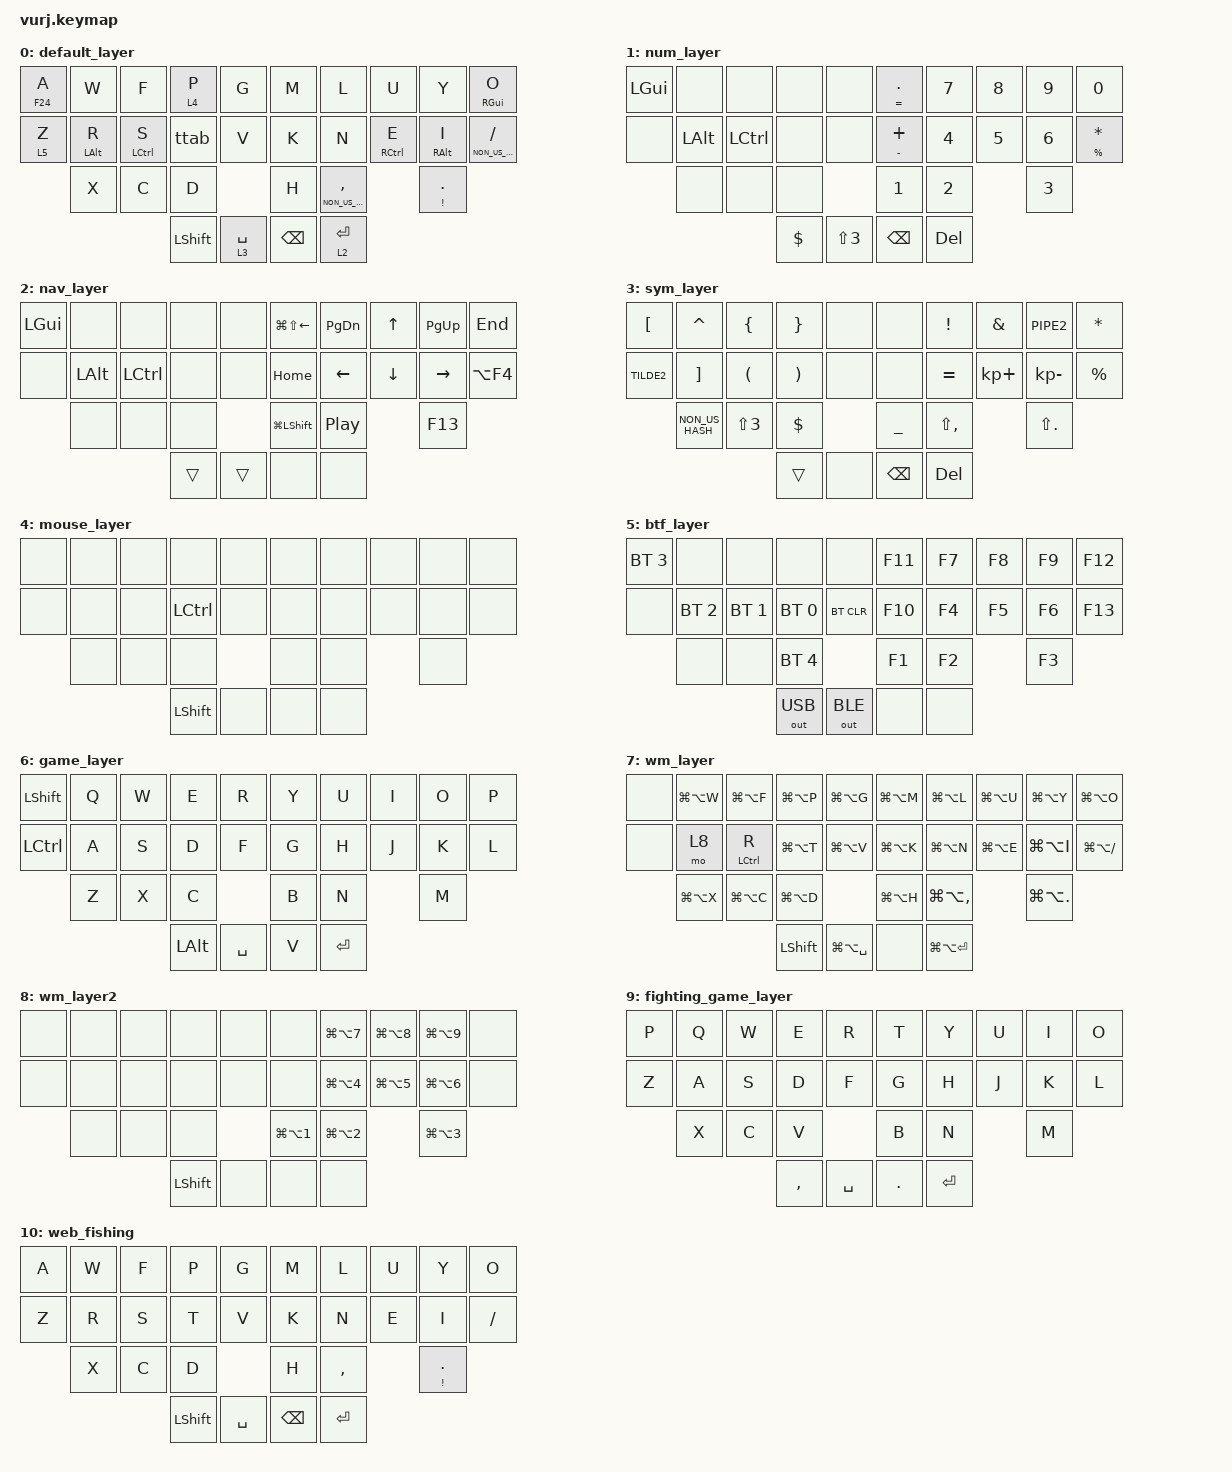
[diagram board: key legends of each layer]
/*
 * Copyright (c) 2020 The ZMK Contributors
 *
 * SPDX-License-Identifier: MIT
 */

#include <behaviors.dtsi>
#include <dt-bindings/zmk/keys.h>
#include <dt-bindings/zmk/bt.h>
#include <dt-bindings/zmk/outputs.h>

/* Behavior Settings */
&mt {
    tapping-term-ms = <160>;
    flavor = "tap-preferred";
};
&lt {
    tapping-term-ms = <160>;
    flavor = "tap-preferred";
    retro-tap;
};

/ {
    behaviors {

        // Vurj Behaviors
        ht: hold_tap{
            compatible = "zmk,behavior-hold-tap";
            label = "HOLD_TAP";
            #binding-cells = <2>;
            tapping-term-ms = <160>;
            flavor = "tap-preferred";
            bindings = <&kp>, <&kp>;
        };
        ttab: t_tab{
            compatible = "zmk,behavior-mod-morph";
            label = "T_TAB";
            #binding-cells = <0>;
            bindings = <&lt 1 T>, <&kp TAB>;
            mods = <(MOD_LALT)>;                
        };
        win1: win_1{
            compatible = "zmk,behavior-mod-morph";
            label = "WIN_1";
            #binding-cells = <0>;
            bindings = <&kp H>, <&kp F1>;
            mods = <(MOD_LGUI)>;                
        };
        win2: win_2{
            compatible = "zmk,behavior-mod-morph";
            label = "WIN_2";
            #binding-cells = <0>;
            bindings = <&ht NON_US_HASH COMMA>, <&kp F2>;
            mods = <(MOD_LGUI)>;                
        };
        win3: win_3{
            compatible = "zmk,behavior-mod-morph";
            label = "WIN_3";
            #binding-cells = <0>;
            bindings = <&ht EXCL DOT>, <&kp F3>;
            mods = <(MOD_LGUI)>;                
        };
        win4: win_4{
            compatible = "zmk,behavior-mod-morph";
            label = "WIN_4";
            #binding-cells = <0>;
            bindings = <&kp N>, <&kp F4>;
            mods = <(MOD_LGUI)>;                
        };
        win5: win_5{
            compatible = "zmk,behavior-mod-morph";
            label = "WIN_5";
            #binding-cells = <0>;
            bindings = <&mt RCTRL E>, <&kp F5>;
            mods = <(MOD_LGUI)>;                
        };
        win6: win_6{
            compatible = "zmk,behavior-mod-morph";
            label = "WIN_6";
            #binding-cells = <0>;
            bindings = <&mt RALT I>, <&kp F6>;
            mods = <(MOD_LGUI)>;                
        };
        win7: win_7{
            compatible = "zmk,behavior-mod-morph";
            label = "WIN_7";
            #binding-cells = <0>;
            bindings = <&kp L>, <&kp F7>;
            mods = <(MOD_LGUI)>;                
        };
        win8: win_8{
            compatible = "zmk,behavior-mod-morph";
            label = "WIN_8";
            #binding-cells = <0>;
            bindings = <&kp U>, <&kp F8>;
            mods = <(MOD_LGUI)>;                
        };
        win9: win_9{
            compatible = "zmk,behavior-mod-morph";
            label = "WIN_9";
            #binding-cells = <0>;
            bindings = <&kp Y>, <&kp F9>;
            mods = <(MOD_LGUI)>;                
        };
    };

    combos {
        compatible = "zmk,combos";

        #define COMBO(NAME, BINDINGS, KEYPOS, LAYERS) \
          combo_##NAME { \
            bindings = <BINDINGS>; \
            key-positions = <KEYPOS>; \
            layers = <LAYERS>; \
            timeout-ms = <15>; \
          };

        /*                KEY POSITIONS

          ╭────────────────────╮ ╭────────────────────╮
          │      1   2   3   4 │ │  5   6   7   8     │
          │ 0   11  12  13  14 │ │ 15  16  17  18   9 │
          │ 10  20  21  22     │ │     23  24  25  19 │
          ╰───────────╮ 26  27 │ │ 28  29 ╭───────────╯
                      ╰────────╯ ╰────────╯            */


        /* Extra letters */
        COMBO(q, &kp Q, 1 2, 0)
        COMBO(b, &kp B, 2 3, 0)
        COMBO(j, &kp J, 6 7, 0)
        COMBO(semi, &kp SEMI, 7 8, 0)

        /* Functions */
        COMBO(tab, &kp TAB, 12 13, 0)
        COMBO(esc, &kp ESC, 11 12, 0)
        
         /* Puncuation */
        COMBO(sqt_grave, &ht GRAVE SQT, 16 17, 0)
        COMBO(dqt_at, &ht DQT AT, 17 18, 0)
        //COMBO(colons, &ht LS(SEMI) SEMI, 6 16, 0)
        //COMBO(comma_hash, &ht NON_US_HASH COMMA, 21 22, 0)
        //COMBO(period_exca, &ht EXCL DOT, 23 24, 0)

        /* Brackets */
        //COMBO(paren, &ht RPAR LPAR, 2 3, 0)
        //COMBO(brace, &ht RBRC LBRC, 1 2, 0)
        //COMBO(brack, &ht RBKT LBKT, 4 14, 0)

        /* Math */
        //COMBO(equals_under, &ht UNDER EQUAL, 6 7, 0)
        //COMBO(plus_min, &ht MINUS KP_PLUS, 7 8, 0)
        //COMBO(times_div, &ht PRCNT STAR, 5 15, 0)

        /* Symbols */
        //COMBO(and_pipe, &ht PIPE2 AMPS, 2 13, 0)
        //COMBO(money, &ht LS(N3) DLLR, 16 7, 0)
        //COMBO(slashes, &ht NON_US_BSLH FSLH, 16 23, 0)
        //COMBO(tilde_caret, &ht CARET TILDE2, 13 22, 0)

        /* Gaming */
        COMBO(gaming, &to 6, 28 29, 0)
        COMBO(game_back, &to 0, 23 24, 6)
        COMBO(game_esc, &kp ESC, 20 21, 6)
        COMBO(game_tab, &kp TAB, 14 4, 6)
        /* Fighting Game */
        COMBO(fight, &to 9, 21 22 23 24, 0)
        COMBO(fight_back, &to 0, 1 8, 9)
        /* web fishing game */
        COMBO(fish, &to 10, 4 5, 0)
        COMBO(fish_back, &to 0, 1 8, 10)
        COMBO(fish_game_esc, &kp ESC, 20 21, 10)
        COMBO(fish_game_tab, &kp TAB, 14 4, 10)
        COMBO(fish_q, &kp Q, 1 2, 10)
        COMBO(fish_b, &kp B, 2 3, 10)
        COMBO(fish_j, &kp J, 6 7, 10)
        COMBO(fish_semi, &kp SEMI, 7 8, 10)
        COMBO(fish_qt_grave, &ht GRAVE SQT, 16 17, 10)
        COMBO(fish_dqt_at, &ht DQT AT, 17 18, 10)
    };

//make N hold be mouse layer

    keymap {
        compatible = "zmk,keymap";

        default_layer {
            bindings = <
        // ╭─────────────┬─────────────┬─────────────┬─────────────┬─────────────╮   ╭─────────────┬─────────────┬─────────────┬─────────────┬─────────────╮
             &mt F24 A     &kp W         &kp F         &lt 4 P       &kp G             &kp M         &kp L         &kp U         &kp Y         &mt RGUI O
             &lt 5 Z       &mt LALT R    &mt LCTRL S   &ttab         &kp V             &kp K         &kp N         &mt RCTRL E   &mt RALT I    &ht NON_US_BSLH FSLH
                           &kp X         &kp C         &kp D                           &kp H         &ht NON_US_HASH COMMA       &ht EXCL DOT
        // ╰─────────────┴─────────────┴─────────────╮                                                           ╭─────────────┴─────────────┴─────────────╯
                                                       &kp LSHFT     &lt 3 SPACE       &kp BSPC      &lt 2 ENTER
        //                                           ╰─────────────┴─────────────╯   ╰─────────────┴─────────────╯
               
            >;
        };

        num_layer {
            bindings = <
        // ╭─────────────┬─────────────┬─────────────┬─────────────┬─────────────╮   ╭─────────────┬─────────────┬─────────────┬─────────────┬─────────────╮
             &kp LGUI      &none         &none         &none         &none             &ht EQUAL DOT  &kp N7       &kp N8        &kp N9        &kp N0
             &none         &kp LALT      &kp LCTRL     &none         &none             &ht MINUS PLUS &kp N4       &kp N5        &kp N6        &ht PRCNT STAR
                           &none         &none         &none                                          &kp N1       &kp N2        &kp N3
        // ╰─────────────┴─────────────┴─────────────╮                                                           ╭─────────────┴─────────────┴─────────────╯
                                                       &kp DLLR      &kp LS(N3)        &kp BSPC       &kp DEL
        //                                           ╰─────────────┴─────────────╯   ╰─────────────┴─────────────╯
            >;
        };

        nav_layer {
            bindings = <
        // ╭─────────────┬─────────────┬─────────────┬─────────────┬─────────────╮   ╭─────────────┬─────────────┬─────────────┬─────────────┬─────────────╮
             &kp LGUI      &none         &none         &none         &none             &kp LG(LS(LEFT)) &kp PG_DN     &kp UP     &kp PG_UP     &kp END
             &none         &kp LALT      &kp LCTRL     &none         &none             &kp HOME      &kp LEFT         &kp DOWN   &kp RIGHT     &kp LA(F4)
                           &none         &none         &none                                         &kp LG(LSHIFT)   &kp C_PP   &kp F13
        // ╰─────────────┴─────────────┴─────────────╮                                                           ╭─────────────┴─────────────┴─────────────╯
                                                       &trans        &trans            &none         &none
        //                                           ╰─────────────┴─────────────╯   ╰─────────────┴─────────────╯
            >;
        };

        sym_layer {
            bindings = <
        // ╭─────────────┬─────────────┬─────────────┬─────────────┬─────────────╮   ╭─────────────┬─────────────┬─────────────┬─────────────┬─────────────╮
           &kp LBKT        &kp CARET     &kp LBRC      &kp RBRC      &none             &none         &kp EXCL     &kp AMPS      &kp PIPE2     &kp STAR
           &kp TILDE2      &kp RBKT      &kp LPAR      &kp RPAR      &none             &none         &kp EQUAL    &kp KP_PLUS   &kp KP_MINUS  &kp PRCNT
                           &kp NON_US_HASH &kp LS(N3)  &kp DLLR                                      &kp UNDER    &kp LS(COMMA) &kp LS(DOT)
        // ╰─────────────┴─────────────┴─────────────╮                                                           ╭─────────────┴─────────────┴─────────────╯
                                                       &trans        &none            &kp BSPC       &kp DEL
        //                                           ╰─────────────┴─────────────╯   ╰─────────────┴─────────────╯
            >;
        };

        mouse_layer {
            bindings = <
        // ╭─────────────┬─────────────┬─────────────┬─────────────┬─────────────╮   ╭─────────────┬─────────────┬─────────────┬─────────────┬─────────────╮
             &none         &none          &none          &none          &none          &none         &none &none   &none &none
             &none         &none          &none       &kp LCTRL      &none          &none         &none &none &none  &none
                           &none          &none          &none                                       &none          &none          &none
        // ╰─────────────┴─────────────┴─────────────╮                                                           ╭─────────────┴─────────────┴─────────────╯
                                                         &kp LSHFT     &none           &none  &none
        //                                           ╰─────────────┴─────────────╯   ╰─────────────┴─────────────╯
            >;
        };


        btf_layer {
            bindings = <
        // ╭─────────────┬─────────────┬─────────────┬─────────────┬─────────────╮   ╭─────────────┬─────────────┬─────────────┬─────────────┬─────────────╮
             &bt BT_SEL 3  &none         &none         &none         &none             &kp F11       &kp F7        &kp F8        &kp F9        &kp F12
             &none         &bt BT_SEL 2  &bt BT_SEL 1  &bt BT_SEL 0  &bt BT_CLR        &kp F10       &kp F4        &kp F5        &kp F6        &kp F13
                           &none         &none         &bt BT_SEL 4                                  &kp F1        &kp F2        &kp F3
        // ╰─────────────┴─────────────┴─────────────╮                                                           ╭─────────────┴─────────────┴─────────────╯
                                                       &out OUT_USB  &out OUT_BLE      &none         &none
        //                                           ╰─────────────┴─────────────╯   ╰─────────────┴─────────────╯
            >;
        };

        game_layer {
            bindings = <
        // ╭─────────────┬─────────────┬─────────────┬─────────────┬─────────────╮   ╭─────────────┬─────────────┬─────────────┬─────────────┬─────────────╮
             &kp LSHIFT    &kp Q         &kp W         &kp E         &kp R              &kp Y        &kp U        &kp I        &kp O        &kp P
             &kp LCTRL     &kp A         &kp S         &kp D         &kp F              &kp G        &kp H        &kp J        &kp K        &kp L
                           &kp Z         &kp X         &kp C                                         &kp B        &kp N        &kp M
        // ╰─────────────┴─────────────┴─────────────╮                                                           ╭─────────────┴─────────────┴─────────────╯
                                                       &kp LALT      &kp SPACE          &kp V    &kp ENTER
        //                                           ╰─────────────┴─────────────╯   ╰─────────────┴─────────────╯
            >;
        };

        wm_layer {
            bindings = <
        // ╭─────────────┬─────────────┬─────────────┬─────────────┬─────────────╮   ╭─────────────┬─────────────┬─────────────┬─────────────┬─────────────╮
             &none         &kp LG(LA(W)) &kp LG(LA(F)) &kp LG(LA(P)) &kp LG(LA(G))      &kp LG(LA(M)) &kp LG(LA(L))  &kp LG(LA(U))     &kp LG(LA(Y)) &kp LG(LA(O))
             &none         &mo 8         &mt LCTRL R   &kp LG(LA(T)) &kp LG(LA(V))      &kp LG(LA(K)) &kp LG(LA(N))  &kp LG(LA(E))     &kp LG(LA(I)) &kp LG(LA(FSLH))
                           &kp LG(LA(X)) &kp LG(LA(C)) &kp LG(LA(D))                                  &kp LG(LA(H))  &kp LG(LA(COMMA)) &kp LG(LA(DOT))   
        // ╰─────────────┴─────────────┴─────────────╮                                                           ╭─────────────┴─────────────┴─────────────╯
                                                       &kp LSHIFT    &kp LG(LA(SPACE))  &none         &kp LG(LA(ENTER))
        //                                           ╰─────────────┴─────────────╯   ╰─────────────┴─────────────╯
            >;
        };

        wm_layer2 {
            bindings = <
        // ╭─────────────┬─────────────┬─────────────┬─────────────┬─────────────╮   ╭─────────────┬─────────────┬─────────────┬─────────────┬─────────────╮
             &none         &none        &none           &none         &none             &none         &kp LG(LA(N7))  &kp LG(LA(N8))  &kp LG(LA(N9)) &none
             &none         &none        &none           &none         &none             &none         &kp LG(LA(N4))  &kp LG(LA(N5))  &kp LG(LA(N6)) &none
                           &none        &none           &none                                         &kp LG(LA(N1))  &kp LG(LA(N2))  &kp LG(LA(N3))   
        // ╰─────────────┴─────────────┴─────────────╮                                                           ╭─────────────┴─────────────┴─────────────╯
                                                        &kp LSHIFT    &none              &none         &none
        //                                           ╰─────────────┴─────────────╯   ╰─────────────┴─────────────╯
            >;
        };

        fighting_game_layer {
            bindings = <
        // ╭─────────────┬─────────────┬─────────────┬─────────────┬─────────────╮   ╭─────────────┬─────────────┬─────────────┬─────────────┬─────────────╮
             &kp P         &kp Q         &kp W         &kp E         &kp R              &kp T         &kp Y       &kp U        &kp I       &kp O
             &kp Z         &kp A         &kp S         &kp D         &kp F              &kp G         &kp H       &kp J        &kp K       &kp L
                           &kp X         &kp C         &kp V                                          &kp B       &kp N        &kp M
        // ╰─────────────┴─────────────┴─────────────╮                                                           ╭─────────────┴─────────────┴─────────────╯
                                                       &kp COMMA      &kp SPACE          &kp DOT        &kp ENTER
        //                                           ╰─────────────┴─────────────╯   ╰─────────────┴─────────────╯
            >;
        };
        
       web_fishing {
            bindings = <
        // ╭─────────────┬─────────────┬─────────────┬─────────────┬─────────────╮   ╭─────────────┬─────────────┬─────────────┬─────────────┬─────────────╮
             &kp A       &kp W         &kp F         &kp P          &kp G             &kp M         &kp L         &kp U         &kp Y         &kp O
             &kp Z       &kp R         &kp S         &kp T          &kp V             &kp K         &kp N         &kp E         &kp I         &kp FSLH
                           &kp X         &kp C         &kp D                          &kp H         &kp COMMA     &ht EXCL DOT
        // ╰─────────────┴─────────────┴─────────────╮                                                           ╭─────────────┴─────────────┴─────────────╯
                                                       &kp LSHFT     &kp SPACE       &kp BSPC      &kp  ENTER
        //                                           ╰─────────────┴─────────────╯   ╰─────────────┴─────────────╯
               
            >;
        };

    };
};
